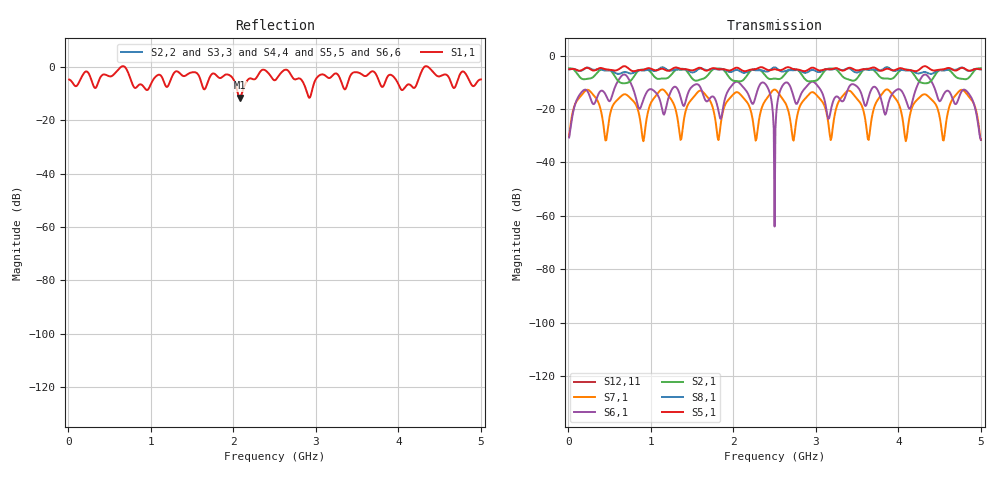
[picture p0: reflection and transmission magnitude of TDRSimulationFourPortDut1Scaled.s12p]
# MHz MA S R 50.0
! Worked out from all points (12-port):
!   500 points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, 10 MHz to 5 GHz, reference 50 ohm
!   strongest paths, dB at 10 MHz, 1.26 GHz, 2.51 GHz, 3.76 GHz, 5 GHz:
!     S5,1: -5.1, -5.0, -5.1, -5.4, -5.2
!     S8,1: -5.1, -5.5, -4.5, -5.7, -5.2
!     S2,1: -4.7, -6.7, -8.6, -7.5, -4.7
!     S6,1: -30.7, -12.5, -27.6, -13.6, -31.6
!     S7,1: -30.3, -17.1, -12.8, -16.1, -31.6
!     S12,11: -, -, -, -, -
!   lowest |S11| = -11.6 dB at 2.08 GHz (marker M1), VSWR 1.71, Z = 76.3 - j20.7 ohm
!   |S11| at or under -10 dB: 2.055 GHz to 2.103 GHz (48.27 MHz wide, 2.32 % of centre); 2.897 GHz to 2.945 GHz (48.27 MHz wide, 1.65 % of centre)
